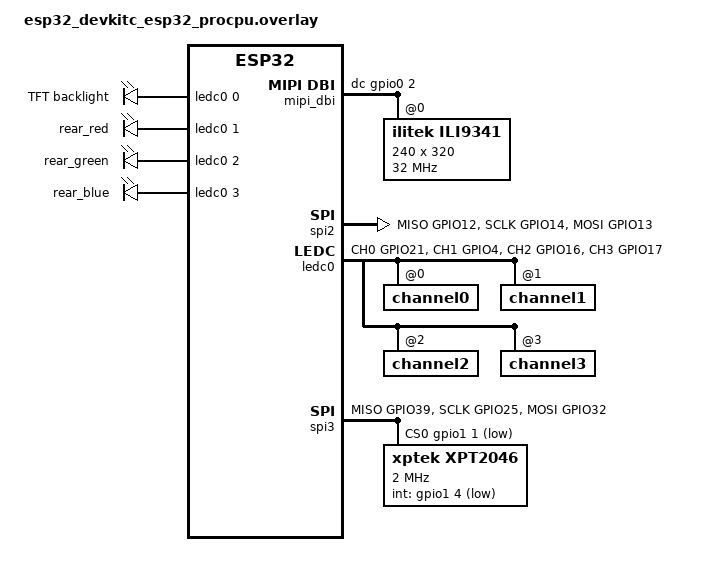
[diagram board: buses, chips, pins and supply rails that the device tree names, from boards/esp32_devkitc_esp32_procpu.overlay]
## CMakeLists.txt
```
cmake_minimum_required(VERSION 3.20.0)
find_package(Zephyr REQUIRED HINTS $ENV{ZEPHYR_BASE})
project(claude_usage_display)

# src/ on the global include path so the mbedTLS build can find
# src/mbedtls_user_config.h (CONFIG_MBEDTLS_USER_CONFIG_FILE).
zephyr_include_directories(src)

target_sources(app PRIVATE
	src/main.c
	src/fatal.c
	src/proto.c
	src/msg_parse.c
	src/usage_view.c
	src/fmt.c
	src/cfg_store.c
	src/net_time.c
	src/ui_boot.c
	src/bootanim_dec.c
	src/bootclip.c
	src/ui_sleep.c
	src/sleep_gate.c
	src/upd_prompt.c
	src/upd_row.c
	src/upd_tap.c
	src/whatsnew.c
	src/logo_parse.c
	src/logo.c
	src/ui_settings.c
	src/ui_anim.c
	src/ui_slide.c
	src/ui_swipe.c
	src/backlight.c
	src/status_led.c
	src/ota_parse.c
	src/ota.c
	src/ui_touchfx.c
	src/usage_state.c
	src/usage_freshness.c
)

# Standalone WiFi mode only. Not stubbed and not dead-stripped -- with
# CONFIG_BLINK_WIFI_MODE off these are never handed to the compiler, so the
# OAuth client id, the spoofed User-Agent and the token writer are absent from
# the image rather than merely unreachable in it. See firmware/Kconfig.
if(CONFIG_BLINK_WIFI_MODE)
	target_sources(app PRIVATE
		src/net_wifi.c
		src/portal.c
		src/ui_setup.c
		src/dns_hijack.c
	)
	if(CONFIG_BLINK_LOCAL_FEED)
		target_sources(app PRIVATE src/local_feed.c)
	else()
		target_sources(app PRIVATE
			src/oauth.c
			src/usage_parse.c
			src/usage_client.c
			src/tz_fetch.c
		)
	endif()
endif()

# Diagnostic only; CONFIG_BLINK_TOUCH_TRACE is off in release builds.
target_sources_ifdef(CONFIG_BLINK_TOUCH_TRACE app PRIVATE src/touch_trace.c)
```

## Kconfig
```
# Application Kconfig. Zephyr sources this in place of its own root, so the
# trailing `source "Kconfig.zephyr"` is mandatory -- without it every upstream
# symbol disappears.

menu "Blink"

config BLINK_TOUCH_TRACE
	bool "Touch trace diagnostic"
	depends on INPUT_XPT2046
	help
	  Record every XPT2046 report into a RAM ring and dump it as CSV over
	  the console when the finger lifts. Diagnostic only -- enable via
	  trace.conf, never in a release build.


config BLINK_WIFI_MODE
	bool "Standalone WiFi mode (on-device sign-in and usage fetch)"
	help
	  Build the board's own network path: the captive-portal setup flow,
	  the OAuth sign-in, the refresh-token store, and the usage fetch it
	  performs for itself.

	  Default n, and that default is the point. With it off, none of that
	  code is handed to the compiler -- no client id, no User-Agent, no
	  token writer in the shipped binary -- and the board takes its usage,
	  its clock and its updates from the daemon over USB. The source stays
	  in the tree, reviewable and buildable, rather than deleted to a
	  branch where it would stop compiling within a few refactors.

	  Turning it on needs wifi.conf too, which brings in the WiFi driver,
	  the IP stack, TLS and the HTTP client:

	    west build --sysbuild -d build-sb -b esp32_devkitc/esp32/procpu . \
	      -- -DEXTRA_CONF_FILE=wifi.conf

	  wifi.conf sets this symbol, so that one flag is the whole switch.

config BLINK_LOCAL_FEED
	bool "Mac-hosted local usage feed"
	depends on BLINK_WIFI_MODE
	help
	  Use board WiFi to fetch a signed local usage frame from the paired Mac.
	  This variant omits the on-device provider OAuth and usage-fetch clients.
	  Enable it with wifi.conf and local-feed.conf together.

config BLINK_PANEL_PILOT
	bool "Build for the two pilot (POC) display panels"
	help
	  The production batch and the two pilot boards carry different
	  display modules. Measured on hardware 2026-08-21, the production
	  panels differ three ways: they render mirrored, they are wired RGB
	  where the ILI9341 driver hardcodes BGR, and their backlight is far
	  brighter at the same PWM duty. The firmware compensates for all
	  three by default, because production is what ships.

	  Set this when building for one of the two pilot boards, which need
	  none of that compensation and would otherwise come out mirrored,
	  colour-swapped and dim. Enable it through pilot.conf:

	    west build -b esp32_devkitc/esp32/procpu . -- \
	      -DEXTRA_CONF_FILE=pilot.conf

	  Deliberately NOT derived from flash encryption. The pilots happen to
	  be the only fused boards today, so keying off FLASH_CRYPT_CNT would
	  work right now and then quietly break: production units get fused
	  before shipping, and the rule would build pilot firmware for them.

config BLINK_BL_SCALE_PCT
	int "Backlight duty as a percent of the nominal level"
	range 10 100
	default 100 if BLINK_PANEL_PILOT
	default 60
	help
	  Scales every brightness step, so that a given user-facing percent
	  means the same amount of light on either batch. Compared side by
	  side at an identical setting, the production panel had to be
	  stepped down before it matched a pilot, so it is scaled here rather
	  than by lowering the default level -- which would have shrunk the
	  usable 20..100 range instead of recentring it.

endmenu

source "Kconfig.zephyr"
```

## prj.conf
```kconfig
# --- Console / logging ---
CONFIG_PRINTK=y
CONFIG_LOG=y
CONFIG_CBPRINTF_FP_SUPPORT=y

# --- Console UART access for protocol I/O ---
CONFIG_SERIAL=y
CONFIG_UART_CONSOLE=y
CONFIG_CONSOLE=y

# Interrupt-driven RX. On a real UART (this board, unlike the C6's USB-CDC) the
# 128-byte FIFO holds ~11 ms at 115200 baud, so polling from the main loop drops
# bytes mid-line as soon as anything stalls it.
CONFIG_UART_INTERRUPT_DRIVEN=y
CONFIG_RING_BUFFER=y

# --- Board identity for the hello message ---
CONFIG_HWINFO=y

# --- Heap / stacks ---
CONFIG_MAIN_STACK_SIZE=8192
# A phone associating to the SoftAP is served by our custom DHCPv4 server (DNS +
# router options + unicast-OFFER ARP injection) which runs on the
# net_socket_service thread. Its 2400 B default stack overflowed on that path and
# corrupted kernel memory -> fatal fault in z_swap on the next context switch,
# crash-looping the board on every join (root cause pinned 2026-07-24 via
# STACK_SENTINEL, which named net_socket_service). 4096 B clears it with margin.
CONFIG_NET_SOCKETS_SERVICE_STACK_SIZE=4096
# Cheap insurance: turn a future stack overflow into a clean named reboot instead
# of silent memory corruption. THREAD_NAME makes the culprit legible in the dump.
CONFIG_THREAD_NAME=y
CONFIG_STACK_SENTINEL=y

# --- Display bring-up (CYD-T2 panel probe) ---
CONFIG_SPI=y
# Explicitly OFF, which is also the Kconfig default -- kept as a line rather
# than a deletion so nobody re-adds it for the reason we did.
#
# It was set on 2026-07-27 to "sleep on the transfer-complete interrupt instead
# of busy-polling". The driver does not do that. With it on, transceive() arms
# the interrupt and falls straight through to spi_context_release() --
# spi_esp32_spim.c has no spi_context_wait_for_completion() call, and
# CONFIG_SPI_ASYNC is off, so the spi_context_complete() the ISR performs only
# gives a semaphore nobody takes. Every synchronous transfer became
# fire-and-forget: XPT2046 read its RX buffer before the words landed (16
# averaged reads per touch report), and display_write() returned with DMA still
# reading the caller's strip.
#
# The busy-poll it was meant to remove survives either way -- the
# `while (!spi_hal_usr_is_done(hal))` spin is still there, just moved into the
# ISR. And that ISR is registered ESP_INTR_FLAG_IRAM while its CS teardown
# reaches gpio_esp32_port_clear_bits_raw in .flash.text, so it would fault if it
# fired during an NVS or OTA write, when the flash cache is down.
CONFIG_SPI_ESP32_INTERRUPT=n
CONFIG_GPIO=y
CONFIG_DISPLAY=y
CONFIG_MIPI_DBI=y
CONFIG_ILI9341=y
CONFIG_INPUT=y
CONFIG_INPUT_XPT2046=y

# --- LVGL ---
CONFIG_LVGL=y
CONFIG_LV_USE_LOG=y
CONFIG_LV_COLOR_DEPTH_16=y
# The ILI9341 takes big-endian RGB565 over SPI; the ESP32 is little-endian.
CONFIG_LV_COLOR_16_SWAP=y
# 32 KiB: gauge screen + settings overlay + confirm dialog coexist, and every
# redraw allocates transient draw tasks on top. 16 KiB ran dry there and LVGL
# NULL-derefed (no graceful malloc-failure path in lv_draw_add_task).
# 30720 (was 32768): 2 KB went to the enlarged net_socket_service stack, which
# shares dram1 with this pool. Still ~2x the 16 KB that once ran dry on the gauge
# screen, so ample headroom remains.
# 32768 again (2026-09-25): building the settings panel exhausted the pool and
# LVGL turned the failed allocation into a NULL store that halted the board --
# lv_obj_allocate_spec_attr() returns without allocating when the pool is dry
# and lv_obj_refresh_ext_draw_size() does not re-check. Seen 2026-09-24 and
# 2026-09-25. This only buys 2 KB back: the linker puts the real ceiling at
# 33,756 (49152 overflowed dram1_0_seg by 15,396), so dram1 is genuinely full
# and this is a margin increase, not a cure. src/fatal.c is what makes the
# failure survivable. Do NOT fund a bigger pool out of the pointer input queue
# below -- that depth is load-bearing, see its comment.
CONFIG_LV_Z_MEM_POOL_SIZE=32768
# dram0 is full (growing the pool past 16 KiB fails to link), but dram1 has
# ~46 KiB spare behind the noinit output section. A .noinit.* section name
# routes the pool there; sys_heap_init formats it, so no zero-init needed.
CONFIG_LV_Z_MEMORY_POOL_ZEPHYR_REGION=y
CONFIG_LV_Z_MEMORY_POOL_ZEPHYR_REGION_NAME=".noinit.lvgl_pool"
# The resistive panel's contact bounce fires a burst of INT edges at touch
# down/up, each producing a full XPT2046 report; a burst can exceed the queue
# within one 10 ms LVGL cycle and drop the button press/release -> missed taps
# (seen on hardware 2026-07-18: a single touch dropped dozens of events).
# The LVGL glue drains the whole msgq every lv_timer_handler pass
# (continue_reading), so a deeper queue only absorbs the burst -- no latency.
# DRAM is nearly full (256 overflowed dram1 by 14 KB, 128 by 2.8 KB): 96 is
# the most that fits, a 50% bump. A driver-level debounce is the real fix if
# this still drops.
CONFIG_INPUT_QUEUE_MAX_MSGS=96
CONFIG_LV_Z_POINTER_INPUT_MSGQ_COUNT=96
# Partial rendering, NOT a 150 KB framebuffer: there is no PSRAM, and WiFi +
# mbedTLS still have to fit in the same 520 KB.
#
# The buffer is 12288 B, not the 6144 this comment used to claim. LV_Z_VDB_SIZE
# is a percentage of the screen, but the Zephyr glue turns it into bytes with
# LV_Z_BITS_PER_PIXEL (modules/lvgl/lvgl.c, BUFFER_SIZE), and that Kconfig lists
# an unconditional `default 32` BEFORE `default 16 if LV_COLOR_DEPTH_16` --
# first default wins, so it is 32 here despite our 16-bit colour.
# 32 * (4 * 320 * 240 / 100) / 8 = 12288, confirmed as .bss.buf0_0 = 0x3000.
#
# Nearly all of it is used: the full byte count goes to lv_display_set_buffers,
# which floors it to whole rows (12288 / 640 B stride = 19 rows), so LVGL renders
# 6080 RGB565 pixels per pass -- 8% of the screen, and ~13 render-and-flush passes
# for a full redraw, not 25. The ~128 B remainder is the row-alignment offcut.
#
# Setting CONFIG_LV_Z_BITS_PER_PIXEL=16 would make the number mean what it says
# and hand ~6 KB back, which is worth remembering: measured 2026-07-26, free
# DRAM is ~3.3 KB in dram0 (__bss_end 0x3ffdf300 vs heap sentry 0x3ffe0000)
# plus ~0.4 KB in dram1. It would also halve the flush chunk and double the
# pass count, so it is a lever for when DRAM gets tight, not a fix.
CONFIG_LV_Z_VDB_SIZE=4
# LVGL's own frame gate. The default 33 ms caps everything at 30 FPS, which is
# irrelevant to a full-screen redraw (124 ms, bounded elsewhere) but does bind
# on the cheap partial redraws, which measure ~5 ms.
#
# 16 does NOT buy a 16 ms period. The repeating lv_timer_handler() call sites
# here sit in loops that sleep between passes -- 10 ms in main.c's mode loops
# and wifi_settle, 5 ms in ui_anim.c and in ui_boot's clip playback -- so LVGL
# is never asked to refresh more often than that, and a 16 ms gate lands on
# the first pass that crosses it: ~20 ms either way. Real, but half what the
# number suggests.
#
# It does nothing for the countdown digits: usage_view_tick_1s() is called
# behind a `now - last_tick >= 1000` guard, so that text changes at 1 Hz no
# matter what this is set to.
CONFIG_LV_DEF_REFR_PERIOD=16
CONFIG_LV_USE_ARC=y
CONFIG_LV_USE_SPINNER=y
CONFIG_LV_USE_BUTTON=y
CONFIG_LV_USE_LABEL=y
CONFIG_LV_FONT_MONTSERRAT_20=y
CONFIG_LV_Z_POINTER_INPUT=y

# --- Networking ---
#
# The WiFi driver, the IP stack, TLS and the HTTP client used to live here and
# were built into every image. They now live in wifi.conf and are pulled in
# only by CONFIG_BLINK_WIFI_MODE, because a USB-only unit needs none of them:
# the daemon on the customer's machine supplies usage, time and firmware, and
# a radio that is never used is still flash, still RAM, and still the OAuth
# client id and refresh token sitting in a shipped binary.
#
#   west build ... -- -DEXTRA_CONF_FILE=wifi.conf     (to get them back)

# --- Config store, and the bits the display path needs ---
#
# These sat inside the old "Networking" block and moved out with it, which
# broke a USB-only build in ways that had nothing to do with the radio:
# IMG_MANAGER (OTA) depends on FLASH_MAP, and the backlight is a PWM. They
# belong to the board, not to WiFi. wifi.conf still sets the same values, and
# an identical assignment in both files is harmless.
#
# cfg_store is NOT settings/NVS: NVS needs erased flash to read as 0xFF, and
# with flash encryption on, erased sectors read as decrypt-garbage. It keeps
# its own A/B CRC-sealed record in the storage partition instead.
CONFIG_FLASH=y
CONFIG_FLASH_MAP=y
CONFIG_CRC=y
CONFIG_REBOOT=y
CONFIG_PWM=y
CONFIG_ESP_FLASH_ENCRYPTION=y
CONFIG_ZVFS_OPEN_MAX=16
CONFIG_LV_FONT_MONTSERRAT_14=y
CONFIG_LV_FONT_MONTSERRAT_16=y
# Sized for the WiFi build, where the driver and mbedTLS share this pool. A
# USB-only image has neither and could almost certainly run on far less --
# worth measuring before trimming, since getting it wrong shows up as an
# allocation failure deep in a driver rather than as a build error.
CONFIG_HEAP_MEM_POOL_SIZE=86016

# --- Hashing for the OTA image check ---
#
# NOT the TLS stack, which lives in wifi.conf. ota.c verifies a streamed image
# against the manifest's sha256, and main.c routes mbedTLS's allocator at the
# kernel heap; both need mbedTLS present, neither needs a handshake. A hash
# brings no client id, no certificate and no network.
CONFIG_MBEDTLS=y
CONFIG_MBEDTLS_BUILTIN=y

# --- OTA: image management + slot1 streaming ---
CONFIG_IMG_MANAGER=y
CONFIG_MCUBOOT_BOOTUTIL_LIB=y
CONFIG_STREAM_FLASH=y
CONFIG_IMG_ERASE_PROGRESSIVELY=y
CONFIG_LV_USE_BAR=y
# OTA test boots arm the hardware watchdog: a hard-hung update image stops
# feeding, the chip resets, and MCUboot reverts to the previous version.
CONFIG_WATCHDOG=y
```

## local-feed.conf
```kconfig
# Add alongside wifi.conf with EXTRA_CONF_FILE="wifi.conf;local-feed.conf".
# The paired Mac is the only source for provider usage in this image.
CONFIG_BLINK_LOCAL_FEED=y
CONFIG_MBEDTLS_MD_C=y
CONFIG_MBEDTLS_SHA256=y
```

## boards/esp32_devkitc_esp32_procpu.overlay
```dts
/*
 * ESP32-2432S028 "Cheap Yellow Display" (CYD).
 *
 * No upstream Zephyr board exists for this hardware, so we build against the
 * stock esp32_devkitc and describe the board's wiring here.
 *
 * Display is on SPI2/HSPI: MISO 12, MOSI 13, SCLK 14, CS 15, DC 2, backlight 21.
 * TFT reset is NOT wired to a GPIO on this board (it is tied high), so there is
 * deliberately no reset-gpios property anywhere below.
 *
 * Note the pinctrl group below omits SPIM2_CSEL_GPIO15: chip-select must be a
 * plain GPIO, not the SPI peripheral's hardware CS. The panel requires CS to be
 * held low across a command byte *and* its following data phase (DC changes in
 * between), which hardware CS cannot do -- it de-asserts after every transfer.
 */
#include <zephyr/dt-bindings/pinctrl/esp-pinctrl-common.h>
#include <dt-bindings/pinctrl/esp32-pinctrl.h>
#include <zephyr/dt-bindings/pinctrl/esp32-gpio-sigmap.h>
#include <zephyr/dt-bindings/mipi_dbi/mipi_dbi.h>
#include <zephyr/dt-bindings/pwm/pwm.h>

/ {
	chosen {
		zephyr,display = &ili9341;
	};
};

/*
 * Flash-encryption compatibility: encrypted flash writes happen in 32-byte
 * blocks, and CONFIG_ESP_FLASH_ENCRYPTION is gated on the devicetree
 * saying so. This changes the NVS on-flash format -- switching it costs
 * one re-provisioning.
 */
&flash0 {
	write-block-size = <32>;
};

/ {

	/*
	 * A SECOND WiFi instance, which becomes the soft-AP interface.
	 * Without it the driver has only one net_if: the AP broadcasts and a
	 * phone can associate, but nothing answers its DHCP request and it
	 * spins forever on "obtaining IP address". Matches Zephyr's own
	 * samples/net/wifi/apsta_mode overlay.
	 */
	wifi_ap: wifi_ap {
		compatible = "espressif,esp32-wifi";
		status = "okay";
	};

	/* Backlight on LEDC PWM channel 0 (it was a plain on/off GPIO), so
	 * night mode can dim it instead of choosing between blinding and
	 * blank. 1 kHz: far above flicker perception, low enough for the
	 * LEDC low-speed timer at full resolution. */
	pwmleds {
		compatible = "pwm-leds";
		backlight: backlight {
			pwms = <&ledc0 0 PWM_HZ(1000) PWM_POLARITY_NORMAL>;
			label = "TFT backlight";
		};
		/* CYD rear common-anode RGB LED. Active-low PWM makes a larger
		 * pulse duty mean a brighter channel, including amber blends. */
		rear_red: rear_red {
			pwms = <&ledc0 1 PWM_HZ(1000) PWM_POLARITY_INVERTED>;
		};
		rear_green: rear_green {
			pwms = <&ledc0 2 PWM_HZ(1000) PWM_POLARITY_INVERTED>;
		};
		rear_blue: rear_blue {
			pwms = <&ledc0 3 PWM_HZ(1000) PWM_POLARITY_INVERTED>;
		};
	};

	/*
	 * The panel does not drive MISO on this board -- reads return zeros, so
	 * the controller cannot be interrogated and the link is write-only.
	 */
	/*
	 * Solved against lvgl_pointer_input.c's actual transform (invert
	 * flags apply BEFORE its ROTATED_90 compensation, in the panel
	 * frame -- naive flag-flipping from on-screen symptoms therefore
	 * misleads: an invert-y here moves screen X). With the panel's
	 * swapped channel frame above, the R90 compensation supplies the
	 * un-swap, and screen-y needs the pre-rotation invert-x to cancel
	 * the compensation's own flip:
	 *   screen_x = ABS_Y                 (horizontal, 0..319)
	 *   screen_y = 240 - (240 - ABS_X)   (vertical,   0..239)
	 * Verified end-to-end with the on-screen touch marker 2026-07-14.
	 */
	lvgl_pointer {
		compatible = "zephyr,lvgl-pointer-input";
		input = <&xpt2046>;
		invert-x;
	};

	mipi_dbi {
		compatible = "zephyr,mipi-dbi-spi";
		dc-gpios = <&gpio0 2 GPIO_ACTIVE_HIGH>;
		spi-dev = <&spi2>;
		write-only;
		#address-cells = <1>;
		#size-cells = <0>;

		ili9341: ili9341@0 {
			compatible = "ilitek,ili9341";
			reg = <0>;
			/* Overclock ladder on THIS unit (verified on hardware
			 * 2026-07-17): 40 MHz = solid white (init never
			 * latches); 32 MHz renders clean and is the keeper;
			 * 25 MHz is the conservative fallback if a future
			 * panel swap misbehaves. */
			mipi-max-frequency = <32000000>;
			mipi-mode = "MIPI_DBI_MODE_SPI_4WIRE";
			pixel-format = <0>;   /* RGB565 */
			/* Panel is portrait-native (240x320) but the board is mounted
			 * landscape, so rotate to present 320x240.
			 */
			rotation = <90>;
			width = <240>;
			height = <320>;
		};
	};
};

&pinctrl {
	spim2_cyd: spim2_cyd {
		group1 {
			pinmux = <SPIM2_MISO_GPIO12>,
				 <SPIM2_SCLK_GPIO14>;
		};

		group2 {
			pinmux = <SPIM2_MOSI_GPIO13>;
			output-low;
		};
	};

	ledc0_cyd: ledc0_cyd {
		group1 {
			pinmux = <LEDC_CH0_GPIO21>,
				 <LEDC_CH1_GPIO4>,
				 <LEDC_CH2_GPIO16>,
				 <LEDC_CH3_GPIO17>;
			output-enable;
		};
	};

	/* Touch bus: CS (GPIO33) is a plain GPIO, so no SPIM3_CSEL here. */
	spim3_cyd: spim3_cyd {
		group1 {
			pinmux = <SPIM3_MISO_GPIO39>,
				 <SPIM3_SCLK_GPIO25>;
		};

		group2 {
			pinmux = <SPIM3_MOSI_GPIO32>;
			output-low;
		};
	};
};

&spi2 {
	status = "okay";
	pinctrl-0 = <&spim2_cyd>;
	pinctrl-names = "default";
	/*
	 * Feed the panel by DMA instead of hand-loading the SPI FIFO. Measured
	 * on hardware 2026-07-26: a full 320x240x2 frame took 63 ms polled --
	 * 19.5 Mbit/s against a 32 MHz wire, so a third of every frame was
	 * per-transfer CPU overhead rather than clock. The flush half of an
	 * LVGL refresh measured 65-67 ms, matching that almost exactly.
	 *
	 * esp32_common.dtsi already supplies dma-clk and dma-host = <0>; this
	 * only switches the path on. The ESP32 predates GDMA, so the driver
	 * takes its own DPORT_SPI_DMA_CHAN_SEL_REG branch, not the gdma one.
	 * Note DMA caps a single transfer at 4092 bytes, so the 6144-byte VDB
	 * chunk is split in two -- more descriptors, still far less overhead.
	 */
	dma-enabled;
	cs-gpios = <&gpio0 15 GPIO_ACTIVE_LOW>;
	#address-cells = <1>;
	#size-cells = <0>;
};

&ledc0 {
	pinctrl-0 = <&ledc0_cyd>;
	pinctrl-names = "default";
	status = "okay";
	#address-cells = <1>;
	#size-cells = <0>;

	channel0@0 {
		reg = <0x0>;
		timer = <0>;
	};

	/* Keep all three rear LED channels off from driver init onward. */
	channel1@1 {
		reg = <1>;
		timer = <1>;
		inverted;
	};

	channel2@2 {
		reg = <2>;
		timer = <1>;
		inverted;
	};

	channel3@3 {
		reg = <3>;
		timer = <1>;
		inverted;
	};
};

/*
 * Touch (XPT2046) is on SPI3, but NOT on SPI3's native IOMUX pins -- those
 * (18/19/23/5) go to the microSD slot on this board. Touch is reached through
 * the GPIO matrix instead: CLK 25, MOSI 32, MISO 39, CS 33, IRQ 36.
 *
 * GPIO 36 and 39 are input-only pins, so they must never be configured as
 * outputs. On the ESP32, gpio0 covers pins 0-31 and gpio1 covers 32-39
 * (index = gpio number - 32), hence GPIO33 -> &gpio1 1 and GPIO36 -> &gpio1 4.
 *
 * We do not use the microSD card, which is what lets touch and SD avoid the
 * SPI3 bus contention that this board is notorious for in the Arduino world.
 */
&spi3 {
	status = "okay";
	pinctrl-0 = <&spim3_cyd>;
	pinctrl-names = "default";
	cs-gpios = <&gpio1 1 GPIO_ACTIVE_LOW>;	/* GPIO33 */
	#address-cells = <1>;
	#size-cells = <0>;

	xpt2046: xpt2046@0 {
		compatible = "xptek,xpt2046";
		reg = <0>;
		spi-max-frequency = <2000000>;	/* XPT2046 is a slow part */
		int-gpios = <&gpio1 4 GPIO_ACTIVE_LOW>;	/* GPIO36, input-only */

		/* Re-measured 2026-07-14 by corner taps on THIS unit: the touch
		 * controller's X channel tracks the screen's horizontal (long)
		 * edge and Y its vertical -- already in landscape screen frame,
		 * NO swap (the earlier CYD-T4 measurement said the transpose;
		 * that mapping put every tap on the mirrored button). Sizes are
		 * therefore the landscape 320x240.
		 */
		/* Channel frame (portrait): ABS_X is the panel's VERTICAL,
		 * ABS_Y its HORIZONTAL -- the lvgl_pointer glue's rotation
		 * compensation maps them into landscape screen space. ADC
		 * ranges fitted from two measurement sessions (driver event
		 * dump + on-screen marker, 2026-07-14). */
		touchscreen-size-x = <240>;
		touchscreen-size-y = <320>;
		/* Re-fitted 2026-07-21 with the on-screen 5-target calibration
		 * (run_touch_cal), two passes -- the second with 3-tap median
		 * averaging after the first pass's noisy single taps mis-set the
		 * vertical. Horizontal (min-y/max-y) landed at ~1.0 in pass 1;
		 * vertical (min-x/max-x) needed pass 2 to shed a +10% gain and a
		 * ~24px "reads too high" offset. */
		min-x = <559>;
		max-x = <3818>;
		min-y = <321>;
		max-y = <3626>;

		z-threshold = <400>;
		/* Default is a single raw sample per report -- visibly jittery
		 * on this panel (slides "not clean", 2026-07-15). 8 reads are
		 * averaged per report; the 2 MHz SPI absorbs it easily. (A
		 * stray duplicate "reads = <3>" was silently winning here --
		 * last-one-wins in DTS -- which is why touch felt worse than
		 * this comment promised; removed 2026-07-17.) 16 now: the cal
		 * harness saw occasional 77px jitter on a hold; more averaging
		 * per report smooths it, and 2 MHz SPI still absorbs it. */
		reads = <16>;
	};
};

/* --- OTA: scratch partition for MCUboot swap-with-revert ---
 * The appcpu slots are dead weight on this single-image (procpu-only) build;
 * their 0xF0000 hole between slot1 and storage becomes MCUboot's scratch.
 * storage_partition does NOT move: WiFi creds, token, settings all survive.
 *
 * Under this Zephyr revision, partitions_0x1000_amp_4M.dtsi also carves
 * lpcore slot0/slot1 (0x3A0000-0x3B0000) out of that same hole -- the ESP32
 * has no LP core, this is just a shared AMP partition template -- and it
 * already defines its own scratch_partition node (0x3E0000, 124 KB, past
 * storage). All five must go: the lpcore slots so the new scratch can span
 * the *entire* hole down to storage's start, and the old scratch_partition
 * because MCUboot looks it up by devicetree node label (FIXED_PARTITION_ID),
 * not by the "label" string, so two nodes named scratch_partition would
 * collide.
 */
/delete-node/ &slot0_appcpu_partition;
/delete-node/ &slot1_appcpu_partition;
/delete-node/ &slot0_lpcore_partition;
/delete-node/ &slot1_lpcore_partition;
/delete-node/ &scratch_partition;

&flash0 {
	partitions {
		scratch_partition: partition@2c0000 {
			label = "image-scratch";
			reg = <0x2C0000 0x70000>;
		};
		/* The company boot logo (logo_parse.h). Written only by the
		 * factory (tools/burn.sh --logo), read memory-mapped at boot.
		 * Carved from the top of the scratch hole, which swap-move
		 * MCUboot never touches; slots and storage do not move, so
		 * an OTA cannot reach it and it cannot reach an OTA. */
		logo_partition: partition@330000 {
			label = "logo";
			reg = <0x330000 0x80000>;
		};
	};
};
```

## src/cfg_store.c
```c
/*
 * Persistent config in a self-owned A/B flash record -- deliberately NOT
 * settings/NVS.
 *
 * With flash encryption enabled, erased-but-unwritten flash reads back as
 * decryption garbage, never 0xFF. NVS's on-flash format leans entirely on
 * "erased reads as the erase value", so it cannot even mount (-EDEADLK on
 * hardware, 2026-07-17); ESP-IDF exempts NVS from flash encryption for the
 * same reason. This store leans the other way: one sealed record (magic +
 * sequence + CRC32) whose unreadable bytes simply fail the seal and mean
 * "empty" -- garbage-as-erased is the design, not a failure mode.
 *
 * Two alternating 4 KB sectors make writes power-loss safe: a new record
 * goes to the OTHER sector, and the old one stays valid until the new seal
 * is fully on flash. Mount picks the valid record with the higher sequence.
 *
 * Every byte rides the chip's transparent encrypted write path, so the
 * refresh token is ciphertext at rest -- the point of the whole exercise.
 * Write volume is trivial (token rotation every few hours, tz daily), so
 * two fixed sectors need no wear leveling.
 */
#include <zephyr/kernel.h>
#include <zephyr/storage/flash_map.h>
#include <zephyr/sys/crc.h>
#include <zephyr/sys/printk.h>
#include <errno.h>
#include <string.h>

#include "cfg_store.h"

#define REC_MAGIC 0xC1A46EF6u
#define SECTOR 4096
#define SLOT_A 0
#define SLOT_B SECTOR

/*
 * The standalone net worker rotates tokens and stores tz results while the
 * main (LVGL) thread can clear config from the settings panel. Every entry
 * point takes this lock; persist() runs under it too (an erase+write is
 * tens of milliseconds -- one dropped frame at worst, on rare writes).
 */
static K_MUTEX_DEFINE(cfg_lock);

static const struct flash_area *fa;

struct rec {
	uint32_t magic;
	uint32_t seq;
	uint8_t mode;
	uint8_t weekly_sel;
	uint8_t tz_set;
	uint8_t bright_pct;	/* 0 = unset -> 100% default; else 20/40/60/80/100 */
	int32_t tz_min;
	char ssid[CFG_SSID_MAX];
	char psk[CFG_PSK_MAX];
	char token[CFG_TOKEN_MAX];
	char ap_psk[CFG_AP_PSK_MAX];
	uint8_t ota_state;		/* 0 idle, 1 install started (cleared on next boot) */
	char ota_target[CFG_OTA_VER_MAX]; /* version the install aimed at */
	uint8_t main_src;		/* 0 unset -> claude; else enum cfg_main_src */
	uint8_t edition;		/* 0 unset -> claude; else enum cfg_edition */
	uint8_t edition_locked;		/* 1 once stamped; see cfg_set_edition */
	uint8_t feed_paired;
	uint16_t feed_port;
	char feed_host[CFG_FEED_HOST_MAX];
	uint8_t feed_key[CFG_FEED_KEY_LEN];
	uint32_t crc;		/* over everything above, always last */
} __packed;

/* On-flash shape immediately before the local-feed fields were added. */
struct rec_pre_feed {
	uint32_t magic;
	uint32_t seq;
	uint8_t mode;
	uint8_t weekly_sel;
	uint8_t tz_set;
	uint8_t bright_pct;
	int32_t tz_min;
	char ssid[CFG_SSID_MAX];
	char psk[CFG_PSK_MAX];
	char token[CFG_TOKEN_MAX];
	char ap_psk[CFG_AP_PSK_MAX];
	uint8_t ota_state;
	char ota_target[CFG_OTA_VER_MAX];
	uint8_t main_src;
	uint8_t edition;
	uint8_t edition_locked;
	uint32_t crc;
} __packed;

/* The layout before the edition latch. Everything else is identical, so the
 * only question a migration has to answer is whether the record it found had
 * already been stamped -- see slot_load. */
struct rec_pre_lock {
	uint32_t magic;
	uint32_t seq;
	uint8_t mode;
	uint8_t weekly_sel;
	uint8_t tz_set;
	uint8_t bright_pct;
	int32_t tz_min;
	char ssid[CFG_SSID_MAX];
	char psk[CFG_PSK_MAX];
	char token[CFG_TOKEN_MAX];
	char ap_psk[CFG_AP_PSK_MAX];
	uint8_t ota_state;
	char ota_target[CFG_OTA_VER_MAX];
	uint8_t main_src;
	uint8_t edition;
	uint32_t crc;
} __packed;

/* The layout before `edition` was added -- see the note on rec_pre_src for
 * why every field addition needs one of these. */
struct rec_pre_edition {
	uint32_t magic;
	uint32_t seq;
	uint8_t mode;
	uint8_t weekly_sel;
	uint8_t tz_set;
	uint8_t bright_pct;
	int32_t tz_min;
	char ssid[CFG_SSID_MAX];
	char psk[CFG_PSK_MAX];
	char token[CFG_TOKEN_MAX];
	char ap_psk[CFG_AP_PSK_MAX];
	uint8_t ota_state;
	char ota_target[CFG_OTA_VER_MAX];
	uint8_t main_src;
	uint32_t crc;
} __packed;

/*
 * The layout before main_src was added.
 *
 * Every field addition needs one of these, because the CRC spans everything
 * ahead of it: a record sealed by the previous firmware has both a different
 * length and a different CRC offset, so it fails validation outright. Without
 * a reader for the old shape an update looks exactly like a corrupt record --
 * and this record holds the WiFi credentials and the token. Losing it silently
 * is the worst thing this file can do.
 */
struct rec_pre_src {
	uint32_t magic;
	uint32_t seq;
	uint8_t mode;
	uint8_t weekly_sel;
	uint8_t tz_set;
	uint8_t bright_pct;
	int32_t tz_min;
	char ssid[CFG_SSID_MAX];
	char psk[CFG_PSK_MAX];
	char token[CFG_TOKEN_MAX];
	char ap_psk[CFG_AP_PSK_MAX];
	uint8_t ota_state;
	char ota_target[CFG_OTA_VER_MAX];
	uint32_t crc;
} __packed;

/* Pre-OTA layout (shipped 0.3.0). A record sealed by that firmware fails the
 * new CRC span; this loader keeps it readable so an update never wipes the
 * user's WiFi/token. Remove only when no 0.3.x board can still exist. */
struct rec_legacy {
	uint32_t magic;
	uint32_t seq;
	uint8_t mode;
	uint8_t weekly_sel;
	uint8_t tz_set;
	uint8_t bright_pct;
	int32_t tz_min;
	char ssid[CFG_SSID_MAX];
	char psk[CFG_PSK_MAX];
	char token[CFG_TOKEN_MAX];
	char ap_psk[CFG_AP_PSK_MAX];
	uint32_t crc;
} __packed;

/* On-flash footprint, padded to the 32-byte encrypted-write block. */
#define REC_WIRE ROUND_UP(sizeof(struct rec), 32)

static struct rec cfg;		/* RAM mirror; seq/crc only meaningful on flash */
static int cur_slot = -1;	/* live record's offset; -1 = none yet */

static uint32_t rec_crc(const struct rec *r)
{
	return crc32_ieee((const uint8_t *)r, offsetof(struct rec, crc));
}

static bool slot_load(int off, struct rec *out)
{
	uint8_t buf[REC_WIRE];

	if (flash_area_read(fa, off, buf, sizeof(buf)) != 0) {
		return false;
	}
	memcpy(out, buf, sizeof(*out));
	if (out->magic == REC_MAGIC && out->crc == rec_crc(out)) {
		return true;
	}

	struct rec_pre_feed pf;
	memcpy(&pf, buf, sizeof(pf));
	if (pf.magic == REC_MAGIC &&
	    pf.crc == crc32_ieee((const uint8_t *)&pf,
				 offsetof(struct rec_pre_feed, crc))) {
		memset(out, 0, sizeof(*out));
		out->magic = pf.magic;
		out->seq = pf.seq;
		out->mode = pf.mode;
		out->weekly_sel = pf.weekly_sel;
		out->tz_set = pf.tz_set;
		out->bright_pct = pf.bright_pct;
		out->tz_min = pf.tz_min;
		memcpy(out->ssid, pf.ssid, sizeof(out->ssid));
		memcpy(out->psk, pf.psk, sizeof(out->psk));
		memcpy(out->token, pf.token, sizeof(out->token));
		memcpy(out->ap_psk, pf.ap_psk, sizeof(out->ap_psk));
		out->ota_state = pf.ota_state;
		memcpy(out->ota_target, pf.ota_target, sizeof(out->ota_target));
		out->main_src = pf.main_src;
		out->edition = pf.edition;
		out->edition_locked = pf.edition_locked;
		out->crc = rec_crc(out);
		printk("[cfg] migrated pre-local-feed record (seq %u)\n", pf.seq);
		return true;
	}

	/* Not a current record -- try the layout from before the edition latch. */
	struct rec_pre_lock pl;

	memcpy(&pl, buf, sizeof(pl));
	if (pl.magic == REC_MAGIC &&
	    pl.crc == crc32_ieee((const uint8_t *)&pl,
				 offsetof(struct rec_pre_lock, crc))) {
		memset(out, 0, sizeof(*out));
		out->magic = pl.magic;
		out->seq = pl.seq;
		out->mode = pl.mode;
		out->weekly_sel = pl.weekly_sel;
		out->tz_set = pl.tz_set;
		out->bright_pct = pl.bright_pct;
		out->tz_min = pl.tz_min;
		memcpy(out->ssid, pl.ssid, sizeof(out->ssid));
		memcpy(out->psk, pl.psk, sizeof(out->psk));
		memcpy(out->token, pl.token, sizeof(out->token));
		memcpy(out->ap_psk, pl.ap_psk, sizeof(out->ap_psk));
		out->ota_state = pl.ota_state;
		memcpy(out->ota_target, pl.ota_target, sizeof(out->ota_target));
		out->main_src = pl.main_src;
		out->edition = pl.edition;
		/*
		 * Latched, whatever it says.
		 *
		 * This used to read a 0 as "never written" and leave the
		 * record open, on the argument that 0 is both "Claude" and
		 * "blank" and an unprovisioned unit should stay provisionable.
		 * That reading had a cost the argument left out: every unit
		 * already in the field carries a pre-lock record, so the
		 * update that introduced the latch would have delivered every
		 * one of them UNLATCHED -- and its owner, holding the same
		 * binary the factory uses, could have stamped it Codex. The
		 * latch exists to stop exactly that.
		 *
		 * The trade is that a genuinely blank unit on old firmware
		 * arrives latched as Claude. Only Claude units have ever
		 * shipped, so that is the right answer for every fielded
		 * record; a bench board that was meant to become Codex needs
		 * its config partition erased first, which is the documented
		 * factory operation for changing a stamp.
		 */
		out->edition_locked = 1;
		out->crc = rec_crc(out);
		printk("[cfg] migrated pre-lock record (seq %u, edition %u, locked)\n",
		       pl.seq, pl.edition);
		return true;
	}

	/* Older -- the layout from before `edition` itself. */
	struct rec_pre_edition pe;

	memcpy(&pe, buf, sizeof(pe));
	if (pe.magic == REC_MAGIC &&
	    pe.crc == crc32_ieee((const uint8_t *)&pe,
				 offsetof(struct rec_pre_edition, crc))) {
		memset(out, 0, sizeof(*out));
		out->magic = pe.magic;
		out->seq = pe.seq;
		out->mode = pe.mode;
		out->weekly_sel = pe.weekly_sel;
		out->tz_set = pe.tz_set;
		out->bright_pct = pe.bright_pct;
		out->tz_min = pe.tz_min;
		memcpy(out->ssid, pe.ssid, sizeof(out->ssid));
		memcpy(out->psk, pe.psk, sizeof(out->psk));
		memcpy(out->token, pe.token, sizeof(out->token));
		memcpy(out->ap_psk, pe.ap_psk, sizeof(out->ap_psk));
		out->ota_state = pe.ota_state;
		memcpy(out->ota_target, pe.ota_target, sizeof(out->ota_target));
		out->main_src = pe.main_src;
		out->edition = 0;	/* unset -> Claude, what shipped */
		/* Latched as Claude, for the reason given in the pre-lock
		 * branch above: this record layout is what every fielded unit
		 * has, and all of them are Claude units. */
		out->edition_locked = 1;
		out->crc = rec_crc(out);
		printk("[cfg] migrated pre-edition record (seq %u, locked)\n",
		       pe.seq);
		return true;
	}

	/* Older -- the layout from before main_src. */
	struct rec_pre_src prev;

	memcpy(&prev, buf, sizeof(prev));
	if (prev.magic == REC_MAGIC &&
	    prev.crc == crc32_ieee((const uint8_t *)&prev,
				   offsetof(struct rec_pre_src, crc))) {
		memset(out, 0, sizeof(*out));
		out->magic = prev.magic;
		out->seq = prev.seq;
		out->mode = prev.mode;
		out->weekly_sel = prev.weekly_sel;
		out->tz_set = prev.tz_set;
		out->bright_pct = prev.bright_pct;
		out->tz_min = prev.tz_min;
		memcpy(out->ssid, prev.ssid, sizeof(out->ssid));
		memcpy(out->psk, prev.psk, sizeof(out->psk));
		memcpy(out->token, prev.token, sizeof(out->token));
		memcpy(out->ap_psk, prev.ap_psk, sizeof(out->ap_psk));
		out->ota_state = prev.ota_state;
		memcpy(out->ota_target, prev.ota_target, sizeof(out->ota_target));
		out->main_src = 0;	/* unset -> the default, not garbage */
		out->crc = rec_crc(out);
		printk("[cfg] migrated pre-main_src record (seq %u)\n", prev.seq);
		return true;
	}

	/* Older still -- the pre-OTA layout. */
	struct rec_legacy old;

	memcpy(&old, buf, sizeof(old));
	if (old.magic != REC_MAGIC ||
	    old.crc != crc32_ieee((const uint8_t *)&old,
				  offsetof(struct rec_legacy, crc))) {
		return false;
	}
	memset(out, 0, sizeof(*out));
	out->magic = old.magic;
	out->seq = old.seq;
	out->mode = old.mode;
	out->weekly_sel = old.weekly_sel;
	out->tz_set = old.tz_set;
	out->bright_pct = old.bright_pct;
	out->tz_min = old.tz_min;
	memcpy(out->ssid, old.ssid, sizeof(out->ssid));
	memcpy(out->psk, old.psk, sizeof(out->psk));
	memcpy(out->token, old.token, sizeof(out->token));
	memcpy(out->ap_psk, old.ap_psk, sizeof(out->ap_psk));
	out->crc = rec_crc(out);	/* valid in RAM; resealed on next persist */
	printk("[cfg] migrated pre-OTA record (seq %u)\n", old.seq);
	return true;
}

/* Called with cfg_lock held. */
static int persist(void)
{
	static uint8_t buf[REC_WIRE];
	int next = (cur_slot == SLOT_A) ? SLOT_B : SLOT_A;

	cfg.magic = REC_MAGIC;
	cfg.seq++;
	cfg.crc = rec_crc(&cfg);

	memset(buf, 0, sizeof(buf));
	memcpy(buf, &cfg, sizeof(cfg));

	int rc = flash_area_erase(fa, next, SECTOR);

	if (rc == 0) {
		rc = flash_area_write(fa, next, buf, sizeof(buf));
	}
	if (rc == 0) {
		cur_slot = next;
	} else {
		printk("[cfg] persist failed: %d\n", rc);
	}
	return rc;
}

int cfg_init(void)
{
	int rc = flash_area_open(FIXED_PARTITION_ID(storage_partition), &fa);

	if (rc) {
		printk("[cfg] storage open failed: %d\n", rc);
		return rc;
	}

	struct rec a, b;
	bool va = slot_load(SLOT_A, &a);
	bool vb = slot_load(SLOT_B, &b);

	if (va && (!vb || a.seq >= b.seq)) {
		cfg = a;
		cur_slot = SLOT_A;
	} else if (vb) {
		cfg = b;
		cur_slot = SLOT_B;
	} else {
		memset(&cfg, 0, sizeof(cfg));
		cur_slot = -1;	/* first persist() lands in slot A */
	}

	/* Never log the token itself, only whether we have one. */
	printk("[cfg] mode=%d ssid=%s token=%s\n", cfg.mode,
	       cfg.ssid[0] ? cfg.ssid : "(none)",
	       cfg.token[0] ? "present" : "(none)");
	return 0;
}

enum cfg_mode cfg_get_mode(void)
{
	return (enum cfg_mode)cfg.mode;
}

int cfg_set_mode(enum cfg_mode mode)
{
	k_mutex_lock(&cfg_lock, K_FOREVER);
	cfg.mode = (uint8_t)mode;

	int rc = persist();

	k_mutex_unlock(&cfg_lock);
	return rc;
}

bool cfg_get_wifi(char *ssid, size_t ssid_len, char *psk, size_t psk_len)
{
	k_mutex_lock(&cfg_lock, K_FOREVER);
	if (!cfg.ssid[0]) {
		k_mutex_unlock(&cfg_lock);
		return false;
	}
	strncpy(ssid, cfg.ssid, ssid_len - 1);
	ssid[ssid_len - 1] = '\0';
	strncpy(psk, cfg.psk, psk_len - 1);
	psk[psk_len - 1] = '\0';
	k_mutex_unlock(&cfg_lock);
	return true;
}

int cfg_set_wifi(const char *ssid, const char *psk)
{
	k_mutex_lock(&cfg_lock, K_FOREVER);
	strncpy(cfg.ssid, ssid, sizeof(cfg.ssid) - 1);
	cfg.ssid[sizeof(cfg.ssid) - 1] = '\0';
	strncpy(cfg.psk, psk ? psk : "", sizeof(cfg.psk) - 1);
	cfg.psk[sizeof(cfg.psk) - 1] = '\0';

	int rc = persist();

	k_mutex_unlock(&cfg_lock);
	return rc;
}

bool cfg_get_token(char *tok, size_t len)
{
	k_mutex_lock(&cfg_lock, K_FOREVER);
	if (!cfg.token[0]) {
		k_mutex_unlock(&cfg_lock);
		return false;
	}
	strncpy(tok, cfg.token, len - 1);
	tok[len - 1] = '\0';
	k_mutex_unlock(&cfg_lock);
	return true;
}

int cfg_set_token(const char *tok)
{
	/*
	 * Write-before-use. The token endpoint sometimes hands back a NEW
	 * refresh token, and the old one dies the moment the new one is
	 * used. Persist first; only report success once it is durable.
	 * (The A/B scheme keeps the OLD token valid on flash until the new
	 * record seals -- a power cut mid-persist costs nothing.)
	 */
	k_mutex_lock(&cfg_lock, K_FOREVER);
	strncpy(cfg.token, tok, sizeof(cfg.token) - 1);
	cfg.token[sizeof(cfg.token) - 1] = '\0';

	int rc = persist();

	k_mutex_unlock(&cfg_lock);
	return rc;
}

int cfg_clear_token(void)
{
	/* Deliberately does NOT touch the WiFi credentials: a rejected token
	 * should cost the user one pasted code, not a whole re-provision.
	 */
	k_mutex_lock(&cfg_lock, K_FOREVER);
	memset(cfg.token, 0, sizeof(cfg.token));

	int rc = persist();

	k_mutex_unlock(&cfg_lock);
	return rc;
}

int cfg_clear_wifi(void)
{
	k_mutex_lock(&cfg_lock, K_FOREVER);
	memset(cfg.ssid, 0, sizeof(cfg.ssid));
	memset(cfg.psk, 0, sizeof(cfg.psk));

	int rc = persist();

	k_mutex_unlock(&cfg_lock);
	return rc;
}

bool cfg_get_feed(char *host, size_t host_len, uint16_t *port,
		  uint8_t key[CFG_FEED_KEY_LEN])
{
	if (!host || host_len == 0 || !port || !key) {
		return false;
	}
	k_mutex_lock(&cfg_lock, K_FOREVER);
	bool paired = cfg.feed_paired == 1 && cfg.feed_host[0] != '\0' &&
		      cfg.feed_port != 0;
	if (paired) {
		strncpy(host, cfg.feed_host, host_len - 1);
		host[host_len - 1] = '\0';
		*port = cfg.feed_port;
		memcpy(key, cfg.feed_key, CFG_FEED_KEY_LEN);
	}
	k_mutex_unlock(&cfg_lock);
	return paired;
}

int cfg_pair_feed(const char *host, uint16_t port,
		  const uint8_t key[CFG_FEED_KEY_LEN])
{
	if (!host || !host[0] || strlen(host) >= CFG_FEED_HOST_MAX ||
	    port == 0 || !key) {
		return -EINVAL;
	}
	k_mutex_lock(&cfg_lock, K_FOREVER);
	if (cfg.feed_paired == 1) {
		bool same = cfg.feed_port == port &&
			    strcmp(cfg.feed_host, host) == 0 &&
			    memcmp(cfg.feed_key, key, CFG_FEED_KEY_LEN) == 0;
		k_mutex_unlock(&cfg_lock);
		return same ? 0 : -EPERM;
	}
	strncpy(cfg.feed_host, host, sizeof(cfg.feed_host) - 1);
	cfg.feed_host[sizeof(cfg.feed_host) - 1] = '\0';
	cfg.feed_port = port;
	memcpy(cfg.feed_key, key, CFG_FEED_KEY_LEN);
	cfg.feed_paired = 1;
	int rc = persist();
	if (rc != 0) {
		memset(cfg.feed_host, 0, sizeof(cfg.feed_host));
		memset(cfg.feed_key, 0, sizeof(cfg.feed_key));
		cfg.feed_port = 0;
		cfg.feed_paired = 0;
	}
	k_mutex_unlock(&cfg_lock);
	return rc;
}

int cfg_clear_feed(void)
{
	k_mutex_lock(&cfg_lock, K_FOREVER);
	memset(cfg.feed_host, 0, sizeof(cfg.feed_host));
	memset(cfg.feed_key, 0, sizeof(cfg.feed_key));
	cfg.feed_port = 0;
	cfg.feed_paired = 0;
	int rc = persist();
	k_mutex_unlock(&cfg_lock);
	return rc;
}

uint8_t cfg_get_weekly_sel(void)
{
	return cfg.weekly_sel;
}

uint8_t cfg_get_main_src(void)
{
	return cfg.main_src;
}

int cfg_set_main_src(uint8_t src)
{
	int rc;

	k_mutex_lock(&cfg_lock, K_FOREVER);
	cfg.main_src = src;
	rc = persist();
	k_mutex_unlock(&cfg_lock);
	return rc;
}

uint8_t cfg_get_edition(void)
{
	return cfg.edition;
}

bool cfg_edition_locked(void)
{
	return cfg.edition_locked != 0;
}

/*
 * Stamp the edition, once, for the life of the record. See cfg_store.h.
 *
 * The range check is here rather than only at the protocol edge because this
 * write cannot be taken back: a value this firmware does not recognise would
 * latch, and bootclip_active() would then fall back to Claude forever on a
 * board that is physically a Codex unit.
 */
int cfg_set_edition(uint8_t edition)
{
	int rc;

	if (edition != CFG_EDITION_CLAUDE && edition != CFG_EDITION_CODEX) {
		return -EINVAL;
	}

	k_mutex_lock(&cfg_lock, K_FOREVER);
	if (cfg.edition_locked) {
		k_mutex_unlock(&cfg_lock);
		return -EPERM;
	}
	uint8_t was_edition = cfg.edition;

	cfg.edition = edition;
	cfg.edition_locked = 1;
	rc = persist();
	if (rc != 0) {
		/*
		 * The flash write failed, so nothing was latched on the device
		 * -- and the RAM mirror must not claim otherwise, or a retry
		 * on this same boot would be refused for a stamp that does not
		 * exist.
		 *
		 * BOTH fields, not just the latch. persist() serialises the
		 * whole struct, so leaving cfg.edition set meant the next
		 * unrelated successful write -- a brightness change is one
		 * line away, backlight.c -> cfg_set_bright_pct -> persist() --
		 * sealed the new edition WITHOUT its lock. The unit would then
		 * play the other clip while cfg_edition_locked() reported
		 * false, so anyone with the cable could stamp it again: the
		 * exact hole the latch exists to close, reached by a path
		 * nobody would think to test.
		 */
		cfg.edition = was_edition;
		cfg.edition_locked = 0;
	}
	k_mutex_unlock(&cfg_lock);
	return rc;
}

int cfg_set_weekly_sel(uint8_t sel)
{
	k_mutex_lock(&cfg_lock, K_FOREVER);
	cfg.weekly_sel = sel;

	int rc = persist();

	k_mutex_unlock(&cfg_lock);
	return rc;
}

uint8_t cfg_get_bright_pct(void)
{
	return cfg.bright_pct == 0 ? 100 : cfg.bright_pct;
}

int cfg_set_bright_pct(uint8_t pct)
{
	k_mutex_lock(&cfg_lock, K_FOREVER);
	cfg.bright_pct = pct;

	int rc = persist();

	k_mutex_unlock(&cfg_lock);
	return rc;
}

bool cfg_get_ap_psk(char *psk, size_t len)
{
	k_mutex_lock(&cfg_lock, K_FOREVER);
	if (!cfg.ap_psk[0]) {
		k_mutex_unlock(&cfg_lock);
		return false;
	}
	strncpy(psk, cfg.ap_psk, len - 1);
	psk[len - 1] = '\0';
	k_mutex_unlock(&cfg_lock);
	return true;
}

int cfg_set_ap_psk(const char *psk)
{
	k_mutex_lock(&cfg_lock, K_FOREVER);
	strncpy(cfg.ap_psk, psk, sizeof(cfg.ap_psk) - 1);
	cfg.ap_psk[sizeof(cfg.ap_psk) - 1] = '\0';

	int rc = persist();

	k_mutex_unlock(&cfg_lock);
	return rc;
}

bool cfg_get_tz(int32_t *offset_min)
{
	k_mutex_lock(&cfg_lock, K_FOREVER);
	if (!cfg.tz_set) {
		k_mutex_unlock(&cfg_lock);
		return false;
	}
	*offset_min = cfg.tz_min;
	k_mutex_unlock(&cfg_lock);
	return true;
}

int cfg_set_tz(int32_t offset_min)
{
	k_mutex_lock(&cfg_lock, K_FOREVER);
	cfg.tz_min = offset_min;
	cfg.tz_set = 1;

	int rc = persist();

	k_mutex_unlock(&cfg_lock);
	return rc;
}

uint8_t cfg_get_ota_state(char *ver, size_t len)
{
	k_mutex_lock(&cfg_lock, K_FOREVER);
	if (ver && len) {
		strncpy(ver, cfg.ota_target, len - 1);
		ver[len - 1] = '\0';
	}
	uint8_t st = cfg.ota_state;

	k_mutex_unlock(&cfg_lock);
	return st;
}

int cfg_set_ota_state(uint8_t st, const char *ver)
{
	k_mutex_lock(&cfg_lock, K_FOREVER);
	cfg.ota_state = st;
	memset(cfg.ota_target, 0, sizeof(cfg.ota_target));
	if (ver) {
		strncpy(cfg.ota_target, ver, sizeof(cfg.ota_target) - 1);
	}
	int rc = persist();

	k_mutex_unlock(&cfg_lock);
	return rc;
}

int cfg_reset(void)
{
	k_mutex_lock(&cfg_lock, K_FOREVER);

	/*
	 * The edition survives a factory reset, and so does its latch.
	 *
	 * A reset wipes what the USER put on the device -- network, token,
	 * brightness, timezone. The edition is not that. It is a property of
	 * the enclosure the board is screwed into, decided once at the factory,
	 * and wiping it here would have made the settings menu a second route
	 * to changing it: reset, then re-provision, and a Codex unit is playing
	 * the Claude clip inside a Codex box. No cable, no CLI, two taps.
	 *
	 * Carried through the memset rather than written back after, so there
	 * is no window where the record on flash is unstamped.
	 */
	uint8_t ed = cfg.edition;
	uint8_t locked = cfg.edition_locked;

	memset(&cfg, 0, sizeof(cfg));
	cfg.edition = ed;
	cfg.edition_locked = locked;

	flash_area_erase(fa, SLOT_A, SECTOR);
	flash_area_erase(fa, SLOT_B, SECTOR);
	cur_slot = -1;
	/*
	 * Both slots are blank now, so the stamp exists only in RAM until
	 * something persists it. Write it back immediately: a reset is
	 * followed by a reboot, and a power cut in that gap would take the
	 * edition with it.
	 */
	if (locked) {
		persist();
	}
	k_mutex_unlock(&cfg_lock);
	return 0;
}
```

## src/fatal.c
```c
#include <zephyr/kernel.h>
#include <zephyr/fatal.h>
#include <zephyr/logging/log.h>
#include <zephyr/logging/log_ctrl.h>
#include <zephyr/sys/reboot.h>

LOG_MODULE_REGISTER(fatal, LOG_LEVEL_ERR);

/*
 * Zephyr's default fatal handler halts the CPU. On a headless board that is
 * the right call -- somebody is watching a console. On this one it means the
 * screen keeps showing whatever pixels were up at the moment of the fault,
 * forever, with no clue anything is wrong. The display looks alive and is
 * dead, and the only cure is unplugging it.
 *
 * Observed twice: 2026-09-24 and 2026-09-25, both an LVGL allocation failing
 * while the settings panel was being built. LVGL's lv_obj_allocate_spec_attr()
 * returns without allocating when the pool is dry, its caller in
 * lv_obj_refresh_ext_draw_size() does not re-check, and the resulting NULL
 * store takes the whole board down.
 *
 * The pool has been enlarged so that should stop happening, but "should" is
 * doing a lot of work there: any unchecked allocation anywhere in LVGL fails
 * the same way. Rebooting turns the worst case from a dead display into a few
 * seconds of splash screen. Nothing this firmware shows is precious enough to
 * be worth staying dead to preserve.
 */

/*
 * Except at boot. If the fault is in early init, rebooting just does it again,
 * and a board that reboot-loops is harder to diagnose than one that stopped --
 * the console scrolls past before anyone can read it, and USB never enumerates
 * long enough to talk to it.
 *
 * So crashes in the first half-minute halt the way they always did, on the
 * assumption that a fault that early is reproducible and someone is watching.
 * Later ones recover, on the assumption that nobody is.
 */
#define FATAL_REBOOT_GRACE_MS	30000

void k_sys_fatal_error_handler(unsigned int reason, const struct arch_esf *esf)
{
	ARG_UNUSED(esf);

	int64_t up = k_uptime_get();

	LOG_PANIC();

	if (up < FATAL_REBOOT_GRACE_MS) {
		LOG_ERR("fatal %u at %lld ms: too early to reboot, halting",
			reason, up);
		arch_system_halt(reason);
		CODE_UNREACHABLE;
	}

	LOG_ERR("fatal %u after %lld ms: rebooting", reason, up);
	sys_reboot(SYS_REBOOT_COLD);
	CODE_UNREACHABLE;
}
```
